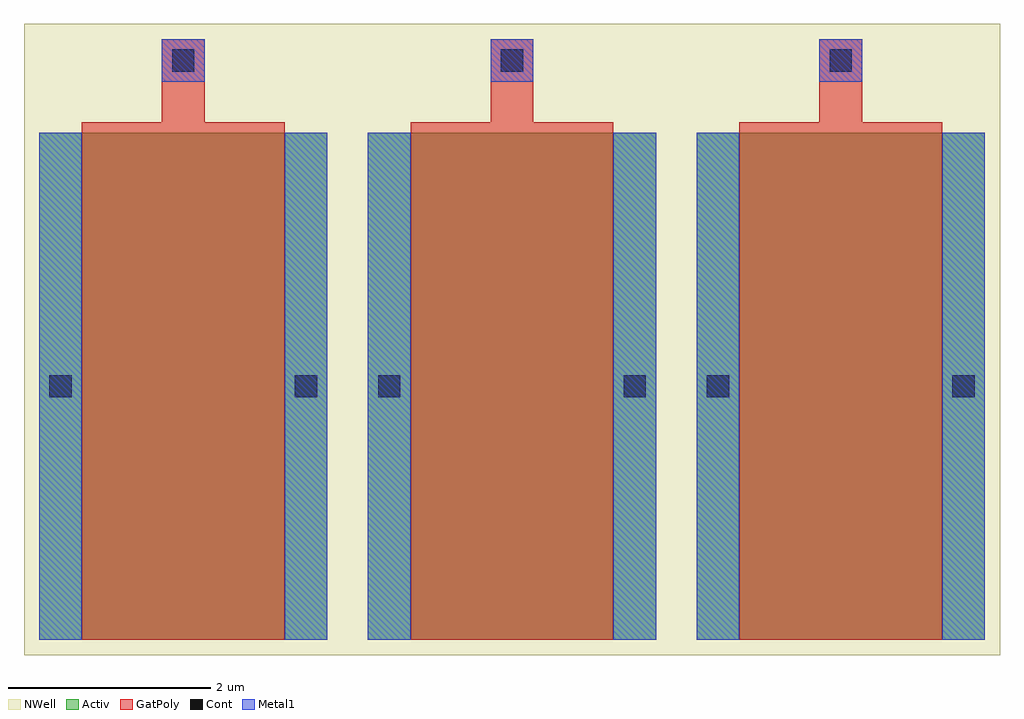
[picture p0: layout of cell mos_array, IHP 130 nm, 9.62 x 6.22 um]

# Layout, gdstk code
import gdstk
lib = gdstk.Library(unit=1e-6, precision=1e-09)
def R(c, l, rs):  # rectangles x0, y0, x1, y1
    for r in rs: c.add(gdstk.rectangle(r[:2], r[2:], *l))
def A(c, l, x, y, w, h, nx, ny, dx, dy):  # array of equal rectangles
    R(c, l, [(x+i*dx, y+j*dy, x+i*dx+w, y+j*dy+h) for i in range(nx) for j in range(ny)])
Activ = (1, 0)
GatPoly = (5, 0)
Cont = (6, 0)
Metal1 = (8, 0)
NWell = (31, 0)

mos_array = lib.new_cell('mos_array')
A(mos_array, Activ, 0, 0, 2.84, 5, 3, 1, 3.24, 0)
A(mos_array, GatPoly, 0.42, 0, 2, 5, 3, 1, 3.24, 0)
A(mos_array, GatPoly, 0.42, 5, 2, 0.1, 3, 1, 3.24, 0)
A(mos_array, GatPoly, 1.21, 5.1, 0.42, 0.82, 3, 1, 3.24, 0)
A(mos_array, Cont, 1.31, 5.6, 0.22, 0.22, 3, 1, 3.24, 0)
R(mos_array, Cont, [(0.1,2.39,0.32,2.61), (2.52,2.39,2.74,2.61), (3.34,2.39,3.56,2.61), (5.76,2.39,5.98,2.61), (6.58,2.39,6.8,2.61), (9,2.39,9.22,2.61)])
A(mos_array, Metal1, 1.21, 5.5, 0.42, 0.42, 3, 1, 3.24, 0)
R(mos_array, Metal1, [(0,0,0.42,5), (2.42,0,2.84,5), (3.24,0,3.66,5), (5.66,0,6.08,5), (6.48,0,6.9,5), (8.9,0,9.32,5)])
R(mos_array, NWell, [(-0.15,-0.15,9.47,6.07)])

lib.write_gds('mos_array.gds')
